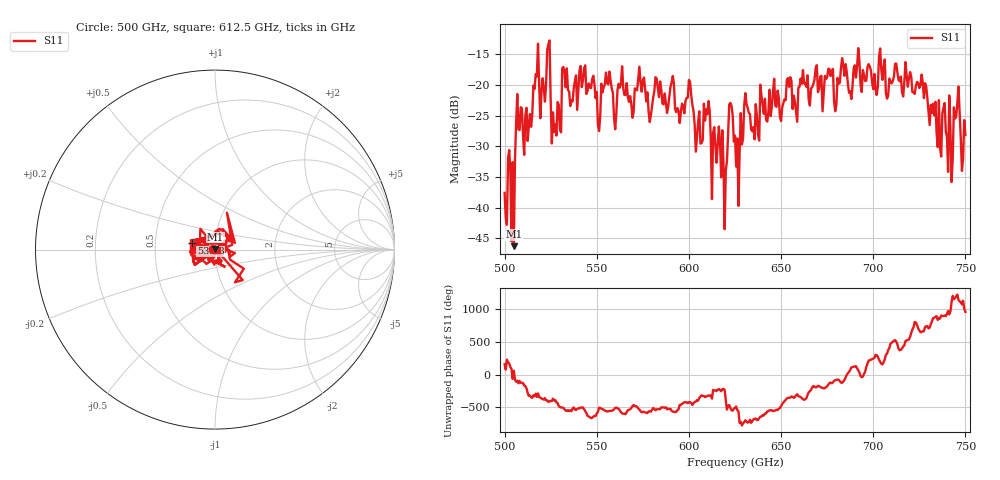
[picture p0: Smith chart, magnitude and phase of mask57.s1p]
!Created with skrf (http://scikit-rf.org).
# GHz S MA R 50.0
!freq magS11 angS11
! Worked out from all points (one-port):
!   401 points, 500 GHz to 750 GHz, reference 50 ohm
!   lowest |S11| = -46.3 dB at 505 GHz (marker M1), VSWR 1.01, Z = 50.2 + j0.422 ohm
!   |S11| at or under -10 dB: start of sweep to end of sweep
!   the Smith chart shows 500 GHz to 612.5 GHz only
!   S11 on the Smith chart (normalised r, x): 500 GHz: 0.98, +0.01; 533.8 GHz: 0.77, +0.06; 612.5 GHz: 1.02, -0.00
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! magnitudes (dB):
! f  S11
! 500 GHz  -37.6
! 505 GHz  -46.3
! 507.5 GHz  -27.2
! 513.8 GHz  -24.8
! 516.9 GHz  -18.3
! 520.6 GHz  -18.9
! 523.8 GHz  -13.4
! 526.9 GHz  -27.7
! 531.2 GHz  -17.3
! 533.8 GHz  -17.3
! 550.6 GHz  -26.5
! 562.5 GHz  -20.5
! 593.8 GHz  -23.8
! 600 GHz  -19.2
! 612.5 GHz  -38.6
! 618.8 GHz  -32.7
! 622.5 GHz  -23.0
! 625 GHz  -28.3
! 628.1 GHz  -24.6
! 631.2 GHz  -23.1
! 634.4 GHz  -27.6
! 656.2 GHz  -23.9
! 687.5 GHz  -21.0
! 718.8 GHz  -20.3
! 735.6 GHz  -22.5
! 741.9 GHz  -27.4
! 745 GHz  -25.2
! 750 GHz  -28.2
